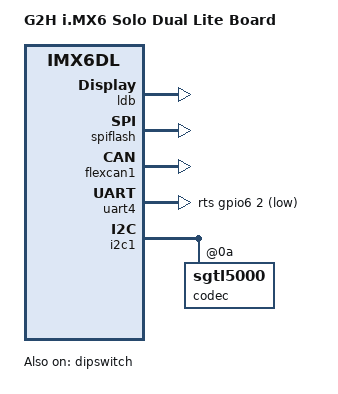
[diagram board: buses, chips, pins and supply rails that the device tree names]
/*
 * Copyright 2014 Reach Technology, Inc.
 *
 * Author: Jeff Horn <jhorn@reachtech.com>
 *
 * This program is free software; you can redistribute it and/or modify
 * it under the terms of the GNU General Public License version 2 as
 * published by the Free Software Foundation.
 *
 */
/dts-v1/;

#include <dt-bindings/interrupt-controller/irq.h>
#include "imx6dl.dtsi"
#include "imx6dl-g2h.dtsi"

/ {
    /*
     * Panel: AUO 10.4" XGA G104XVN01.0
     * Touch: eGalax USB
     * Display Interface: LDB
     * LDB Clock: PLL2
     */
	model = "G2H i.MX6 Solo Dual Lite Board";
	compatible = "reach,imx6sdl-hawthorne", "fsl,imx6dl";

    aliases {
		mxcfb0 = &mxcfb1;
	};
   
    mxcfb1: fb@0 {
		compatible = "fsl,mxc_sdc_fb";
		disp_dev = "ldb";
		interface_pix_fmt = "RGB24";
		mode_str ="LDB-XGA";
		default_bpp = <32>;
		int_clk = <0>;
		late_init = <0>;
		status = "okay";
    };

    sound: sound@0 {
        status = "okay";
    };
};

&dipswitch {
    status = "okay";
};

&ldb {
	ipu_id = <0>;
	disp_id = <0>;
	ext_ref = <1>;
	mode = "sin0";
	sec_ipu_id = <0>;
	sec_disp_id = <0>;
	lvds_en_gpio = <&gpio2 8 1>;
	disp_en_gpio = <&gpio2 11 1>;
    channel_mapping = "SPWG";
	status = "okay";
};

&spiflash {
	status = "okay";
};

&flexcan1 {
	status = "okay";
};

&uart4 {
	rts-gpios = <&gpio6 2 1>;
};

&i2c1 {
    codec: sgtl5000@0a {
        status = "okay";
    };
};

&epdc {
	status = "disabled";
};
